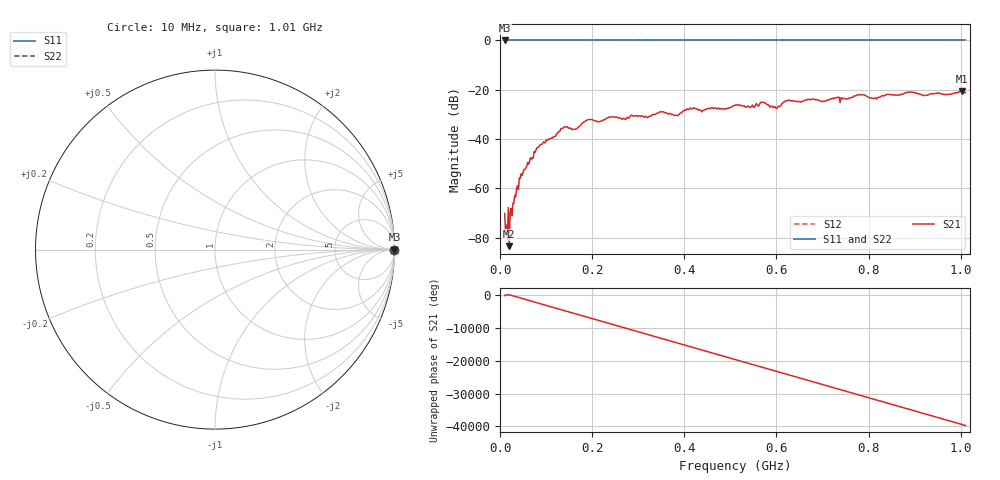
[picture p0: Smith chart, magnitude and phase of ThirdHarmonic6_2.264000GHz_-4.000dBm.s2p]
! 8/17/2025 2:48:50 AM
! C:\ANRITSUVNA\TEMP\TEMP.S2P
! CHANNEL.1
! TR.MEASUREMENT
! RAW.DATA
! RF.CORRECTION.OFF
! AVERAGING.OFF
! IF.BANDWIDTH: 5KHZ
! SWEEPTYPE:  FREQ.SWEEP(Linear)
! Reference Plane Port Info
! PORT:  PORT1  PORT2
! DISTANCE:  0  m  0  m
! TIME:  0  s  0  s
! PHASE.OFFSET:  0  deg.  0  deg.
! LOSS:  0  dB  0  dB
! REF.LOSS:  0  dB  0  dB
! REF.FREQ:  0  Hz  0  Hz
! Power Info
! POWER:  -20  dBm  -20  dBm
! EFF.POWER:  -20  dBm  -20  dBm
! SOURCE.ATTEN:  0  dB  0  dB
! TEST.ATTEN:  0  dB  0  dB
# GHZ S RI R 50.0
! FREQ.GHZ  S11RE  S11IM  S21RE  S21IM  S12RE  S12IM  S22RE  S22IM
!; PortSelection: Port_12
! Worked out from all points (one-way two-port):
!   501 points, 10 MHz to 1.01 GHz, reference 50 ohm
!   highest |S21| = -20.59 dB at 1.002 GHz (marker M1); lowest = -83.5 dB at 20 MHz (marker M2)
!   lowest |S11| = 0.0 dB at 10 MHz (marker M3)
!   |S11| at or under -10 dB: nowhere
!   |S22| runs from 0.0 to 0.0 dB; largest |S21 - S12| = 1.1
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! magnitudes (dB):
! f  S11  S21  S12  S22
! 10 MHz  0.0  -70.2  0.0  0.0
! 16 MHz  0.0  -80.8  0.0  0.0
! 20 MHz  0.0  -83.5  0.0  0.0
! 46 MHz  0.0  -54.1  0.0  0.0
! 78 MHz  0.0  -44.5  0.0  0.0
! 136 MHz  0.0  -35.8  0.0  0.0
! 162 MHz  0.0  -36.1  0.0  0.0
! 178 MHz  0.0  -33.7  0.0  0.0
! 344 MHz  0.0  -29.4  0.0  0.0
! 384 MHz  0.0  -30.3  0.0  0.0
! 410 MHz  0.0  -28.0  0.0  0.0
! 510 MHz  0.0  -26.3  0.0  0.0
! 548 MHz  0.0  -26.2  0.0  0.0
! 570 MHz  0.0  -25.1  0.0  0.0
! 598 MHz  0.0  -27.2  0.0  0.0
! 624 MHz  0.0  -24.3  0.0  0.0
! 678 MHz  0.0  -23.9  0.0  0.0
! 782 MHz  0.0  -22.1  0.0  0.0
! 814 MHz  0.0  -23.3  0.0  0.0
! 844 MHz  0.0  -21.9  0.0  0.0
! 1.002 GHz  0.0  -20.6  0.0  0.0
! 1.01 GHz  0.0  -21.2  0.0  0.0
